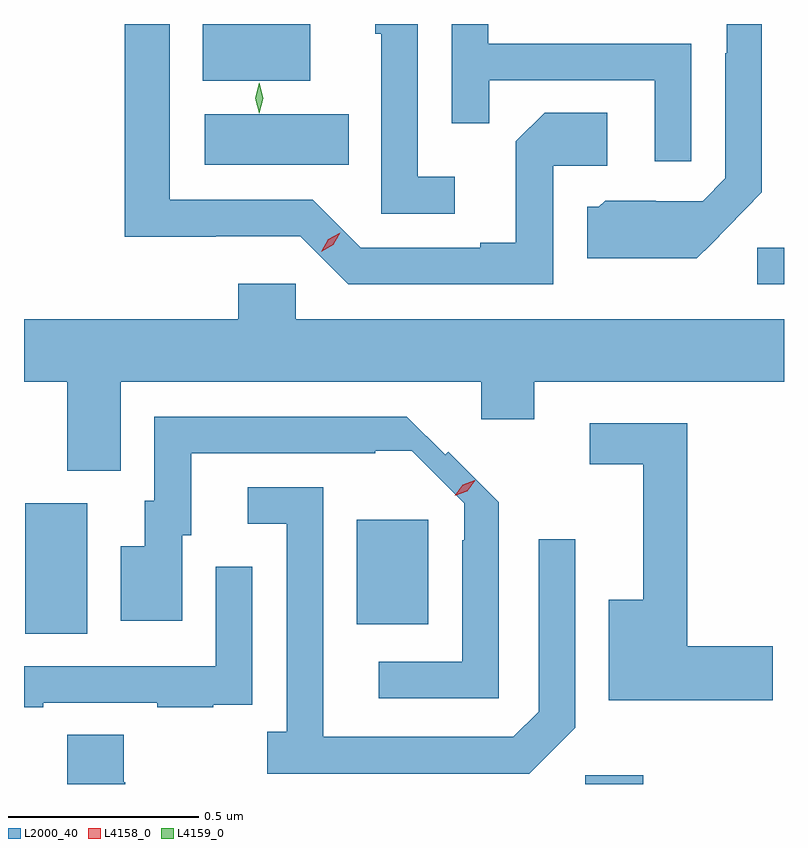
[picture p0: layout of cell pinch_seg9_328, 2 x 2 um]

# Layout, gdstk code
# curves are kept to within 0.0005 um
import gdstk
lib = gdstk.Library(unit=1e-6, precision=1e-09)
def R(c, l, rs):  # rectangles x0, y0, x1, y1
    for r in rs: c.add(gdstk.rectangle(r[:2], r[2:], *l))
def P(c, l, *ps):  # polygons
    for p in ps: c.add(gdstk.Polygon(p, *l))
L2000_40 = (2000, 40)
L4158_0 = (4158, 0)
L4159_0 = (4159, 0)

pinch_seg9_328 = lib.new_cell('pinch_seg9_328')
R(pinch_seg9_328, L2000_40, [(619.674,1204.685,619.826,1204.708), (618.2,1205.08,618.364,1205.424), (619.073,1205.105,619.261,1205.38), (620.127,1206,620.197,1206.096), (618.672,1206.314,619.052,1206.448), (618.668,1206.536,618.95,1206.685)])
P(pinch_seg9_328, L2000_40, [(619.59,1206.312),(619.732,1206.312),(619.732,1206.452),(619.567,1206.452),(619.491,1206.376),(619.491,1206.109),(619.397,1206.109),(619.397,1206.096),(619.083,1206.096),(618.957,1206.222),(618.58,1206.222),(618.58,1206.685),(618.462,1206.685),(618.462,1206.125),(618.702,1206.125),(618.702,1206.126),(618.924,1206.126),(619.05,1206),(619.59,1206)],
  [(619.33,1206.283),(619.233,1206.283),(619.233,1206.685),(619.121,1206.685),(619.121,1206.66),(619.137,1206.66),(619.137,1206.186),(619.33,1206.186)],
  [(620.005,1206.106),(620.139,1206.242),(620.139,1206.685),(620.046,1206.685),(620.046,1206.608),(620.043,1206.608),(620.043,1206.279),(619.983,1206.219),(619.86,1206.219),(619.86,1206.22),(619.726,1206.22),(619.71,1206.204),(619.679,1206.204),(619.679,1206.068),(619.967,1206.068)],
  [(619.953,1206.633),(619.419,1206.633),(619.419,1206.685),(619.323,1206.685),(619.323,1206.424),(619.421,1206.424),(619.421,1206.537),(619.857,1206.537),(619.857,1206.324),(619.953,1206.324)],
  [(618.451,1205.744),(619.4,1205.744),(619.4,1205.645),(619.54,1205.645),(619.54,1205.744),(620.197,1205.744),(620.197,1205.908),(618.912,1205.908),(618.912,1206.001),(618.761,1206.001),(618.761,1205.908),(618.197,1205.908),(618.197,1205.744),(618.311,1205.744),(618.311,1205.509),(618.451,1205.509)],
  [(619.446,1205.427),(619.314,1205.559),(619.306,1205.551),(619.204,1205.652),(618.54,1205.652),(618.54,1205.43),(618.515,1205.43),(618.515,1205.311),(618.452,1205.311),(618.452,1205.115),(618.613,1205.115),(618.613,1205.34),(618.637,1205.34),(618.637,1205.556),(619.121,1205.556),(619.121,1205.562),(619.218,1205.562),(619.356,1205.424),(619.356,1205.327),(619.35,1205.327),(619.35,1205.007),(619.131,1205.007),(619.131,1204.911),(619.446,1204.911)],
  [(620.167,1205.048),(619.943,1205.048),(619.943,1205.634),(619.686,1205.634),(619.686,1205.526),(619.826,1205.526),(619.826,1205.17),(619.736,1205.17),(619.736,1204.906),(620.167,1204.906)],
  [(619.647,1204.833),(619.647,1205.329),(619.551,1205.329),(619.551,1204.875),(619.485,1204.809),(618.985,1204.809),(618.985,1205.009),(618.984,1205.009),(618.984,1205.466),(618.786,1205.466),(618.786,1205.37),(618.888,1205.37),(618.888,1204.822),(618.837,1204.822),(618.837,1204.712),(619.526,1204.712)],
  [(618.247,1204.899),(618.547,1204.899),(618.547,1204.887),(618.695,1204.887),(618.695,1204.893),(618.797,1204.893),(618.797,1205.002),(618.798,1205.002),(618.798,1205.257),(618.702,1205.257),(618.702,1204.995),(618.197,1204.995),(618.197,1204.887),(618.247,1204.887)],
  [(618.464,1204.689),(618.459,1204.689),(618.459,1204.814),(618.311,1204.814),(618.311,1204.685),(618.464,1204.685)])
P(pinch_seg9_328, L4158_0, [(619.331,1205.443),(619.331,1205.444),(619.351,1205.472),(619.383,1205.485),(619.384,1205.485),(619.384,1205.484),(619.363,1205.456),(619.331,1205.443)],
  [(618.979,1206.086),(618.979,1206.086),(618.997,1206.118),(619.029,1206.136),(619.029,1206.136),(619.029,1206.136),(619.011,1206.104),(618.979,1206.086)])
P(pinch_seg9_328, L4159_0, [(618.816,1206.45),(618.816,1206.45),(618.806,1206.49),(618.816,1206.531),(618.816,1206.531),(618.816,1206.531),(618.826,1206.49),(618.816,1206.45)])

lib.write_gds('pinch_seg9_328.gds')
